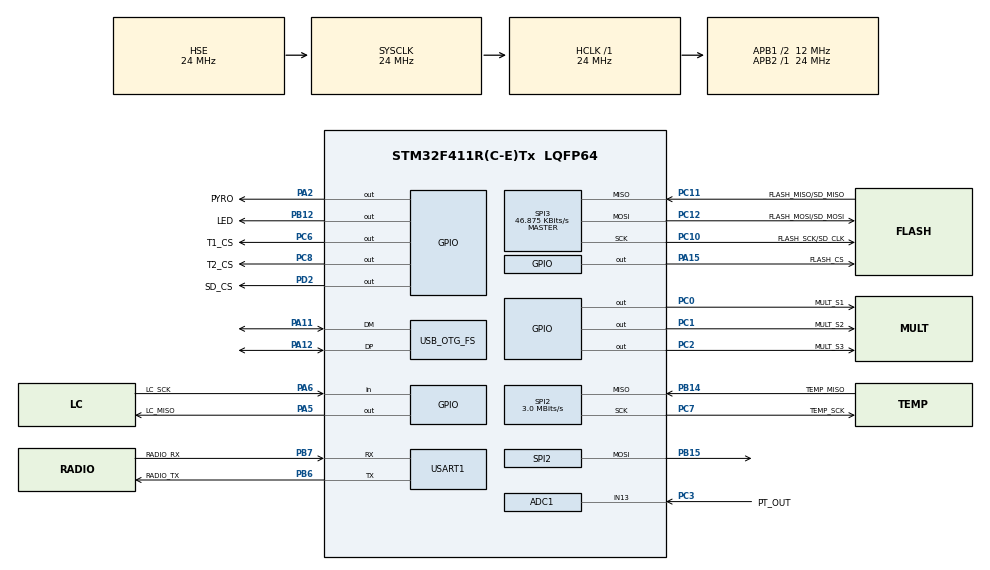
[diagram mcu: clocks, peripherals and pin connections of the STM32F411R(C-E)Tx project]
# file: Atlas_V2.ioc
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ADC1.Channel-3\#ChannelRegularConversion=ADC_CHANNEL_13
ADC1.NbrOfConversionFlag=1
ADC1.Rank-3\#ChannelRegularConversion=1
ADC1.SamplingTime-3\#ChannelRegularConversion=ADC_SAMPLETIME_3CYCLES
ADC1.master=1
FATFS._USE_MKFS=1
Mcu.Family=STM32F4
Mcu.Name=STM32F411R(C-E)Tx
Mcu.Package=LQFP64
NVIC.PriorityGroup=NVIC_PRIORITYGROUP_4
PA11.Mode=Device_Only
PA11.Signal=USB_OTG_FS_DM
PA12.Mode=Device_Only
PA12.Signal=USB_OTG_FS_DP
PA13.Mode=Serial_Wire
PA13.Signal=SYS_JTMS-SWDIO
PA14.Mode=Serial_Wire
PA14.Signal=SYS_JTCK-SWCLK
PA15.GPIO_Label=FLASH_CS
PA15.GPIO_Speed=GPIO_SPEED_FREQ_HIGH
PA15.PinState=GPIO_PIN_SET
PA15.Signal=GPIO_Output
PA2.GPIO_Label=PYRO
PA2.Signal=GPIO_Output
PA5.GPIO_Label=LC_MISO
PA5.GPIO_Speed=GPIO_SPEED_FREQ_LOW
PA5.Signal=GPIO_Output
PA6.GPIO_Label=LC_SCK
PA6.Signal=GPIO_Input
PB12.GPIO_Label=LED
PB12.Signal=GPIO_Output
PB14.GPIO_Label=TEMP_MISO
PB14.Mode=Full_Duplex_Master
PB14.Signal=SPI2_MISO
PB15.Mode=Full_Duplex_Master
PB15.Signal=SPI2_MOSI
PB6.GPIO_Label=RADIO_TX
PB6.Mode=Asynchronous
PB6.Signal=USART1_TX
PB7.GPIO_Label=RADIO_RX
PB7.Mode=Asynchronous
PB7.Signal=USART1_RX
PC0.GPIO_Label=MULT_S1
PC0.Signal=GPIO_Output
PC1.GPIO_Label=MULT_S2
PC1.Signal=GPIO_Output
PC10.GPIO_Label=FLASH_SCK/SD_CLK
PC10.GPIO_PuPd=GPIO_NOPULL
PC10.Mode=Full_Duplex_Master
PC10.Signal=SPI3_SCK
PC11.GPIO_Label=FLASH_MISO/SD_MISO
PC11.GPIO_PuPd=GPIO_NOPULL
PC11.Mode=Full_Duplex_Master
PC11.Signal=SPI3_MISO
PC12.GPIO_Label=FLASH_MOSI/SD_MOSI
PC12.GPIO_PuPd=GPIO_NOPULL
PC12.Mode=Full_Duplex_Master
PC12.Signal=SPI3_MOSI
PC2.GPIO_Label=MULT_S3
PC2.Signal=GPIO_Output
PC3.GPIO_Label=PT_OUT
PC3.Signal=ADCx_IN13
PC6.GPIO_Label=T1_CS
PC6.PinState=GPIO_PIN_SET
PC6.Signal=GPIO_Output
PC7.GPIO_Label=TEMP_SCK
PC7.Mode=Full_Duplex_Master
PC7.Signal=SPI2_SCK
PC8.GPIO_Label=T2_CS
PC8.PinState=GPIO_PIN_SET
PC8.Signal=GPIO_Output
PD2.GPIO_Label=SD_CS
PD2.GPIO_PuPd=GPIO_NOPULL
PD2.GPIO_Speed=GPIO_SPEED_FREQ_HIGH
PD2.PinState=GPIO_PIN_SET
PD2.Signal=GPIO_Output
PH0\ -\ OSC_IN.Mode=HSE-External-Oscillator
PH0\ -\ OSC_IN.Signal=RCC_OSC_IN
PH1\ -\ OSC_OUT.Mode=HSE-External-Oscillator
PH1\ -\ OSC_OUT.Signal=RCC_OSC_OUT
ProjectManager.HeapSize=0x2000
ProjectManager.StackSize=0x2000
ProjectManager.TargetToolchain=STM32CubeIDE
RCC.48MHZClocksFreq_Value=48000000
RCC.AHBFreq_Value=24000000
RCC.APB1CLKDivider=RCC_HCLK_DIV2
RCC.APB1Freq_Value=12000000
RCC.APB1TimFreq_Value=24000000
RCC.APB2Freq_Value=24000000
RCC.APB2TimFreq_Value=24000000
RCC.CortexFreq_Value=24000000
RCC.HCLKFreq_Value=24000000
RCC.HSE_VALUE=24000000
RCC.HSI_VALUE=16000000
RCC.LSE_VALUE=32768
RCC.PLLM=12
RCC.PLLN=72
RCC.PLLQ=3
RCC.SYSCLKFreq_VALUE=24000000
RCC.SYSCLKSource=RCC_SYSCLKSOURCE_HSE
RCC.VCOOutputFreq_Value=144000000
SH.ADCx_IN13.0=ADC1_IN13,IN13
SPI2.BaudRatePrescaler=SPI_BAUDRATEPRESCALER_4
SPI2.CalculateBaudRate=3.0 MBits/s
SPI2.Direction=SPI_DIRECTION_2LINES
SPI2.Mode=SPI_MODE_MASTER
SPI2.VirtualType=VM_MASTER
SPI3.BaudRatePrescaler=SPI_BAUDRATEPRESCALER_256
SPI3.CLKPhase=SPI_PHASE_1EDGE
SPI3.CalculateBaudRate=46.875 KBits/s
SPI3.Direction=SPI_DIRECTION_2LINES
SPI3.Mode=SPI_MODE_MASTER
SPI3.VirtualType=VM_MASTER
USART1.VirtualMode=VM_ASYNC
USB_OTG_FS.VirtualMode=Device_Only
VP_CRC_VS_CRC.Mode=CRC_Activate
VP_FATFS_VS_Generic.Mode=User_defined
board=custom

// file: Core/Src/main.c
/* USER CODE BEGIN Header */
/**
 ******************************************************************************
 * @file           : main.c
 * @brief          : Main program body
 ******************************************************************************
 * @attention
 *
 * Copyright (c) 2025 STMicroelectronics.
 * All rights reserved.
 *
 * This software is licensed under terms that can be found in the LICENSE file
 * in the root directory of this software component.
 * If no LICENSE file comes with this software, it is provided AS-IS.
 *
 *
 * Atlas V2: engineered by the Avionics team of the Rutgers Rocket Propulsion
 * Lab. Code written by Tyler Abbassi tfa21. Contact if any questions arise.
 ******************************************************************************
 */
/* USER CODE END Header */
#include "main.h"
#include "fatfs.h"

/* USER CODE BEGIN Includes */
#include "stm32f4xx_hal.h"
#include "hx711.h"
#include "hx711Config.h"
#include "pressure.h"
#include "structs.h"
#include "MAX31855.h"
#include <string.h>
#include <stdarg.h>
#include <stdio.h>
#include <stm32f4xx_hal_gpio.h>
//#include "usbd_cdc_if.h"

/* USER CODE END Includes */

/* USER CODE BEGIN PD */
// --- HX711 (load cell amplifier) ---
#define HX711_CLK_GPIO_Port   GPIOA
#define HX711_CLK_Pin         GPIO_PIN_5   // LC_SCK
#define HX711_DATA_GPIO_Port  GPIOA
#define HX711_DATA_Pin        GPIO_PIN_6   // LC_MISO
// LC_CS (PA4) is unused; configured as output low by CubeMX
/* USER CODE END PD */

ADC_HandleTypeDef hadc1;

CRC_HandleTypeDef hcrc;

SPI_HandleTypeDef hspi2;
SPI_HandleTypeDef hspi3;

UART_HandleTypeDef huart1;

PCD_HandleTypeDef hpcd_USB_OTG_FS;

/* USER CODE BEGIN PV */

telemetry_packet_t g_packet;

volatile float   dbg_hx711_final_coef   = 0.0f;
volatile int32_t dbg_hx711_final_offset = 0;
// --- Debug globals for CubeMonitor ---
// Voltage readings (float)
volatile float dbg_pt_voltage_0;
volatile float dbg_pt_voltage_1;
volatile float dbg_pt_voltage_2;
volatile float dbg_pt_voltage_3;
volatile float dbg_pt_voltage_4;
volatile float dbg_pt_voltage_5;

// Pressure readings (float)
volatile float dbg_pt_psi_0;
volatile float dbg_pt_psi_1;
volatile float dbg_pt_psi_2;
volatile float dbg_pt_psi_3;
volatile float dbg_pt_psi_4;
volatile float dbg_pt_psi_5;

// Raw ADC values (uint16)
volatile uint16_t dbg_pt_raw_0;
volatile uint16_t dbg_pt_raw_1;
volatile uint16_t dbg_pt_raw_2;
volatile uint16_t dbg_pt_raw_3;
volatile uint16_t dbg_pt_raw_4;
volatile uint16_t dbg_pt_raw_5;

// Load cell weight (float)
volatile float dbg_loadcell_weight;
hx711_t g_loadcell;

// Thermocouples
MAX31855_StateHandle g_tc1;
MAX31855_StateHandle g_tc2;
volatile float dbg_tc1_temp;
volatile float dbg_tc2_temp;

/* USER CODE END PV */

void SystemClock_Config(void);
static void MX_GPIO_Init(void);
static void MX_SPI2_Init(void);
static void MX_SPI3_Init(void);
static void MX_USB_OTG_FS_PCD_Init(void);
static void MX_CRC_Init(void);
static void MX_USART1_UART_Init(void);
static void MX_ADC1_Init(void);
/* USER CODE BEGIN PFP */
uint32_t calculate_checksum(const uint8_t *data, size_t length);

/* USER CODE END PFP */

int main(void)
{

  /* MCU Configuration--------------------------------------------------------*/

  /* Reset of all peripherals, Initializes the Flash interface and the Systick. */
  HAL_Init();

  /* Configure the system clock */
  SystemClock_Config();

  /* Initialize all configured peripherals */
  MX_GPIO_Init();
  MX_SPI2_Init();
  MX_SPI3_Init();
  MX_USB_OTG_FS_PCD_Init();
  MX_CRC_Init();
  MX_FATFS_Init();
  MX_USART1_UART_Init();
  MX_ADC1_Init();
  /* USER CODE BEGIN 2 */

  //temp

  PT_Init(&hadc1);

  //Initializing HX711

  hx711_init(&g_loadcell,
             LC_SCK_GPIO_Port,  LC_SCK_Pin,
             LC_MISO_GPIO_Port, LC_MISO_Pin);

  hx711_tare(&g_loadcell, 10);

  hx711_coef_set(&g_loadcell, 2010.07996f);

  MAX31855_Init(&g_tc1, &hspi2, T1_CS_GPIO_Port, T1_CS_Pin);
  MAX31855_Init(&g_tc2, &hspi2, T2_CS_GPIO_Port, T2_CS_Pin);

  /* USER CODE END 2 */

  /* Infinite loop */
  /* USER CODE BEGIN WHILE */

  while (1)
  {

	  // --- Pressure transducers ---
	            PT_ScanAll();
	            // Raw ADC values
	            dbg_pt_raw_0 = g_pt_raw[0];
	            dbg_pt_raw_1 = g_pt_raw[1];
	            dbg_pt_raw_2 = g_pt_raw[2];
	            dbg_pt_raw_3 = g_pt_raw[3];
	            dbg_pt_raw_4 = g_pt_raw[4];
	            dbg_pt_raw_5 = g_pt_raw[5];

	            // Pressures
	            dbg_pt_psi_0 = PT_GetPressure(0);
	            dbg_pt_psi_1 = PT_GetPressure(1);
	            dbg_pt_psi_2 = PT_GetPressure(2);
	            dbg_pt_psi_3 = PT_GetPressure(3);
	            dbg_pt_psi_4 = PT_GetPressure(4);
	            dbg_pt_psi_5 = PT_GetPressure(5);

	            // --- Load cell ---
	            dbg_loadcell_weight = hx711_weight(&g_loadcell, 1);

	            // --- Thermocouples ---
	            MAX31855_ReadData(&g_tc1);
	            MAX31855_ReadData(&g_tc2);
	            dbg_tc1_temp = MAX31855_GetTemperature(&g_tc1);
	            dbg_tc2_temp = MAX31855_GetTemperature(&g_tc2);

	            // ==========================
	            // Populate telemetry packet
	            // ==========================
	            g_packet.magic   = TELEMETRY_MAGIC;
	            g_packet.time_us = HAL_GetTick() * 1000;

	            // Raw ADC values
	            g_packet.pt_raw[0] = dbg_pt_raw_0;
	            g_packet.pt_raw[1] = dbg_pt_raw_1;
	            g_packet.pt_raw[2] = dbg_pt_raw_2;
	            g_packet.pt_raw[3] = dbg_pt_raw_3;
	            g_packet.pt_raw[4] = dbg_pt_raw_4;
	            g_packet.pt_raw[5] = dbg_pt_raw_5;

	            // Pressures (PSI)
	            g_packet.pt_psi[0] = dbg_pt_psi_0;
	            g_packet.pt_psi[1] = dbg_pt_psi_1;
	            g_packet.pt_psi[2] = dbg_pt_psi_2;
	            g_packet.pt_psi[3] = dbg_pt_psi_3;
	            g_packet.pt_psi[4] = dbg_pt_psi_4;
	            g_packet.pt_psi[5] = dbg_pt_psi_5;

	            // Load cell
	            g_packet.loadcell_weight = dbg_loadcell_weight;

	            // Thermocouples
	            g_packet.tc_temp[0]  = dbg_tc1_temp;
	            g_packet.tc_temp[1]  = dbg_tc2_temp;
	            g_packet.tc_fault[0] = MAX31855_GetFault(&g_tc1);
	            g_packet.tc_fault[1] = MAX31855_GetFault(&g_tc2);

	            // Compute CRC over packet EXCLUDING the 2-byte magic and 4-byte checksum
	            g_packet.checksum = calculate_checksum(
	                ((const uint8_t *)&g_packet) + sizeof(uint16_t),
	                sizeof(telemetry_packet_t) - sizeof(uint16_t) - sizeof(uint32_t)
	            );

	            HAL_UART_Transmit(
	                &huart1,                          // UART connected to radio
	                (uint8_t *)&g_packet,             // Raw packet bytes
	                sizeof(telemetry_packet_t),       // Packet length
	                HAL_MAX_DELAY                     // Block until done
	            );

    /* USER CODE END WHILE */

  }
}

void SystemClock_Config(void)
{
  RCC_OscInitTypeDef RCC_OscInitStruct = {0};
  RCC_ClkInitTypeDef RCC_ClkInitStruct = {0};

  /** Configure the main internal regulator output voltage
  */
  __HAL_RCC_PWR_CLK_ENABLE();
  __HAL_PWR_VOLTAGESCALING_CONFIG(PWR_REGULATOR_VOLTAGE_SCALE1);

  /** Initializes the RCC Oscillators according to the specified parameters
  * in the RCC_OscInitTypeDef structure.
  */
  RCC_OscInitStruct.OscillatorType = RCC_OSCILLATORTYPE_HSE;
  RCC_OscInitStruct.HSEState = RCC_HSE_ON;
  RCC_OscInitStruct.PLL.PLLState = RCC_PLL_ON;
  RCC_OscInitStruct.PLL.PLLSource = RCC_PLLSOURCE_HSE;
  RCC_OscInitStruct.PLL.PLLM = 12;
  RCC_OscInitStruct.PLL.PLLN = 72;
  RCC_OscInitStruct.PLL.PLLP = RCC_PLLP_DIV2;
  RCC_OscInitStruct.PLL.PLLQ = 3;
  if (HAL_RCC_OscConfig(&RCC_OscInitStruct) != HAL_OK)
  {
    Error_Handler();
  }

  /** Initializes the CPU, AHB and APB buses clocks
  */
  RCC_ClkInitStruct.ClockType = RCC_CLOCKTYPE_HCLK|RCC_CLOCKTYPE_SYSCLK
                              |RCC_CLOCKTYPE_PCLK1|RCC_CLOCKTYPE_PCLK2;
  RCC_ClkInitStruct.SYSCLKSource = RCC_SYSCLKSOURCE_HSE;
  RCC_ClkInitStruct.AHBCLKDivider = RCC_SYSCLK_DIV1;
  RCC_ClkInitStruct.APB1CLKDivider = RCC_HCLK_DIV2;
  RCC_ClkInitStruct.APB2CLKDivider = RCC_HCLK_DIV1;

  if (HAL_RCC_ClockConfig(&RCC_ClkInitStruct, FLASH_LATENCY_0) != HAL_OK)
  {
    Error_Handler();
  }
}

static void MX_ADC1_Init(void)
{

  ADC_ChannelConfTypeDef sConfig = {0};

  /** Configure the global features of the ADC (Clock, Resolution, Data Alignment and number of conversion)
  */
  hadc1.Instance = ADC1;
  hadc1.Init.ClockPrescaler = ADC_CLOCK_SYNC_PCLK_DIV2;
  hadc1.Init.Resolution = ADC_RESOLUTION_12B;
  hadc1.Init.ScanConvMode = DISABLE;
  hadc1.Init.ContinuousConvMode = DISABLE;
  hadc1.Init.DiscontinuousConvMode = DISABLE;
  hadc1.Init.ExternalTrigConvEdge = ADC_EXTERNALTRIGCONVEDGE_NONE;
  hadc1.Init.ExternalTrigConv = ADC_SOFTWARE_START;
  hadc1.Init.DataAlign = ADC_DATAALIGN_RIGHT;
  hadc1.Init.NbrOfConversion = 1;
  hadc1.Init.DMAContinuousRequests = DISABLE;
  hadc1.Init.EOCSelection = ADC_EOC_SINGLE_CONV;
  if (HAL_ADC_Init(&hadc1) != HAL_OK)
  {
    Error_Handler();
  }

  /** Configure for the selected ADC regular channel its corresponding rank in the sequencer and its sample time.
  */
  sConfig.Channel = ADC_CHANNEL_13;
  sConfig.Rank = 1;
  sConfig.SamplingTime = ADC_SAMPLETIME_3CYCLES;
  if (HAL_ADC_ConfigChannel(&hadc1, &sConfig) != HAL_OK)
  {
    Error_Handler();
  }

}

static void MX_CRC_Init(void)
{

  hcrc.Instance = CRC;
  if (HAL_CRC_Init(&hcrc) != HAL_OK)
  {
    Error_Handler();
  }

}

static void MX_SPI2_Init(void)
{

  /* SPI2 parameter configuration*/
  hspi2.Instance = SPI2;
  hspi2.Init.Mode = SPI_MODE_MASTER;
  hspi2.Init.Direction = SPI_DIRECTION_2LINES;
  hspi2.Init.DataSize = SPI_DATASIZE_8BIT;
  hspi2.Init.CLKPolarity = SPI_POLARITY_LOW;
  hspi2.Init.CLKPhase = SPI_PHASE_1EDGE;
  hspi2.Init.NSS = SPI_NSS_SOFT;
  hspi2.Init.BaudRatePrescaler = SPI_BAUDRATEPRESCALER_4;
  hspi2.Init.FirstBit = SPI_FIRSTBIT_MSB;
  hspi2.Init.TIMode = SPI_TIMODE_DISABLE;
  hspi2.Init.CRCCalculation = SPI_CRCCALCULATION_DISABLE;
  hspi2.Init.CRCPolynomial = 10;
  if (HAL_SPI_Init(&hspi2) != HAL_OK)
  {
    Error_Handler();
  }

}

static void MX_SPI3_Init(void)
{

  /* SPI3 parameter configuration*/
  hspi3.Instance = SPI3;
  hspi3.Init.Mode = SPI_MODE_MASTER;
  hspi3.Init.Direction = SPI_DIRECTION_2LINES;
  hspi3.Init.DataSize = SPI_DATASIZE_8BIT;
  hspi3.Init.CLKPolarity = SPI_POLARITY_LOW;
  hspi3.Init.CLKPhase = SPI_PHASE_1EDGE;
  hspi3.Init.NSS = SPI_NSS_SOFT;
  hspi3.Init.BaudRatePrescaler = SPI_BAUDRATEPRESCALER_256;
  hspi3.Init.FirstBit = SPI_FIRSTBIT_MSB;
  hspi3.Init.TIMode = SPI_TIMODE_DISABLE;
  hspi3.Init.CRCCalculation = SPI_CRCCALCULATION_DISABLE;
  hspi3.Init.CRCPolynomial = 10;
  if (HAL_SPI_Init(&hspi3) != HAL_OK)
  {
    Error_Handler();
  }

}

static void MX_USART1_UART_Init(void)
{

  huart1.Instance = USART1;
  huart1.Init.BaudRate = 115200;
  huart1.Init.WordLength = UART_WORDLENGTH_8B;
  huart1.Init.StopBits = UART_STOPBITS_1;
  huart1.Init.Parity = UART_PARITY_NONE;
  huart1.Init.Mode = UART_MODE_TX_RX;
  huart1.Init.HwFlowCtl = UART_HWCONTROL_NONE;
  huart1.Init.OverSampling = UART_OVERSAMPLING_16;
  if (HAL_UART_Init(&huart1) != HAL_OK)
  {
    Error_Handler();
  }

}

static void MX_USB_OTG_FS_PCD_Init(void)
{

  hpcd_USB_OTG_FS.Instance = USB_OTG_FS;
  hpcd_USB_OTG_FS.Init.dev_endpoints = 4;
  hpcd_USB_OTG_FS.Init.speed = PCD_SPEED_FULL;
  hpcd_USB_OTG_FS.Init.dma_enable = DISABLE;
  hpcd_USB_OTG_FS.Init.phy_itface = PCD_PHY_EMBEDDED;
  hpcd_USB_OTG_FS.Init.Sof_enable = DISABLE;
  hpcd_USB_OTG_FS.Init.low_power_enable = DISABLE;
  hpcd_USB_OTG_FS.Init.lpm_enable = DISABLE;
  hpcd_USB_OTG_FS.Init.vbus_sensing_enable = DISABLE;
  hpcd_USB_OTG_FS.Init.use_dedicated_ep1 = DISABLE;
  if (HAL_PCD_Init(&hpcd_USB_OTG_FS) != HAL_OK)
  {
    Error_Handler();
  }

}

static void MX_GPIO_Init(void)
{
  GPIO_InitTypeDef GPIO_InitStruct = {0};

  /* GPIO Ports Clock Enable */
  __HAL_RCC_GPIOH_CLK_ENABLE();
  __HAL_RCC_GPIOC_CLK_ENABLE();
  __HAL_RCC_GPIOA_CLK_ENABLE();
  __HAL_RCC_GPIOB_CLK_ENABLE();
  __HAL_RCC_GPIOD_CLK_ENABLE();

  /*Configure GPIO pin Output Level */
  HAL_GPIO_WritePin(GPIOC, MULT_S1_Pin|MULT_S2_Pin|MULT_S3_Pin, GPIO_PIN_RESET);

  /*Configure GPIO pin Output Level */
  HAL_GPIO_WritePin(GPIOA, PYRO_Pin|LC_MISO_Pin, GPIO_PIN_RESET);

  /*Configure GPIO pin Output Level */
  HAL_GPIO_WritePin(LED_GPIO_Port, LED_Pin, GPIO_PIN_RESET);

  /*Configure GPIO pin Output Level */
  HAL_GPIO_WritePin(GPIOC, T1_CS_Pin|T2_CS_Pin, GPIO_PIN_SET);

  /*Configure GPIO pin Output Level */
  HAL_GPIO_WritePin(FLASH_CS_GPIO_Port, FLASH_CS_Pin, GPIO_PIN_SET);

  /*Configure GPIO pin Output Level */
  HAL_GPIO_WritePin(SD_CS_GPIO_Port, SD_CS_Pin, GPIO_PIN_SET);

  /*Configure GPIO pins : MULT_S1_Pin MULT_S2_Pin MULT_S3_Pin T1_CS_Pin
                           T2_CS_Pin */
  GPIO_InitStruct.Pin = MULT_S1_Pin|MULT_S2_Pin|MULT_S3_Pin|T1_CS_Pin
                          |T2_CS_Pin;
  GPIO_InitStruct.Mode = GPIO_MODE_OUTPUT_PP;
  GPIO_InitStruct.Pull = GPIO_NOPULL;
  GPIO_InitStruct.Speed = GPIO_SPEED_FREQ_LOW;
  HAL_GPIO_Init(GPIOC, &GPIO_InitStruct);

  /*Configure GPIO pins : PYRO_Pin LC_MISO_Pin */
  GPIO_InitStruct.Pin = PYRO_Pin|LC_MISO_Pin;
  GPIO_InitStruct.Mode = GPIO_MODE_OUTPUT_PP;
  GPIO_InitStruct.Pull = GPIO_NOPULL;
  GPIO_InitStruct.Speed = GPIO_SPEED_FREQ_LOW;
  HAL_GPIO_Init(GPIOA, &GPIO_InitStruct);

  /*Configure GPIO pin : LC_SCK_Pin */
  GPIO_InitStruct.Pin = LC_SCK_Pin;
  GPIO_InitStruct.Mode = GPIO_MODE_INPUT;
  GPIO_InitStruct.Pull = GPIO_NOPULL;
  HAL_GPIO_Init(LC_SCK_GPIO_Port, &GPIO_InitStruct);

  /*Configure GPIO pin : LED_Pin */
  GPIO_InitStruct.Pin = LED_Pin;
  GPIO_InitStruct.Mode = GPIO_MODE_OUTPUT_PP;
  GPIO_InitStruct.Pull = GPIO_NOPULL;
  GPIO_InitStruct.Speed = GPIO_SPEED_FREQ_LOW;
  HAL_GPIO_Init(LED_GPIO_Port, &GPIO_InitStruct);

  /*Configure GPIO pin : FLASH_CS_Pin */
  GPIO_InitStruct.Pin = FLASH_CS_Pin;
  GPIO_InitStruct.Mode = GPIO_MODE_OUTPUT_PP;
  GPIO_InitStruct.Pull = GPIO_NOPULL;
  GPIO_InitStruct.Speed = GPIO_SPEED_FREQ_HIGH;
  HAL_GPIO_Init(FLASH_CS_GPIO_Port, &GPIO_InitStruct);

  /*Configure GPIO pin : SD_CS_Pin */
  GPIO_InitStruct.Pin = SD_CS_Pin;
  GPIO_InitStruct.Mode = GPIO_MODE_OUTPUT_PP;
  GPIO_InitStruct.Pull = GPIO_NOPULL;
  GPIO_InitStruct.Speed = GPIO_SPEED_FREQ_HIGH;
  HAL_GPIO_Init(SD_CS_GPIO_Port, &GPIO_InitStruct);

}

/* USER CODE BEGIN 4 */

uint32_t calculate_checksum(const uint8_t *data, size_t length)
{
    // Pad to a multiple of 4 bytes using bitwise masking
    size_t padded_length = (length + 3) & ~0x03;

    // Create padded buffer (Note: This is still a VLA)
    uint8_t pad_buffer[padded_length];
    memset(pad_buffer, 0, padded_length);
    memcpy(pad_buffer, data, length);

    // Cast the byte buffer to a 32-bit pointer for the STM32F4 hardware
    return HAL_CRC_Calculate(&hcrc, (uint32_t *)pad_buffer, padded_length / 4);
}

/* USER CODE END 4 */

void Error_Handler(void)
{
 __disable_irq();
 while (1)
 {
 }
}
